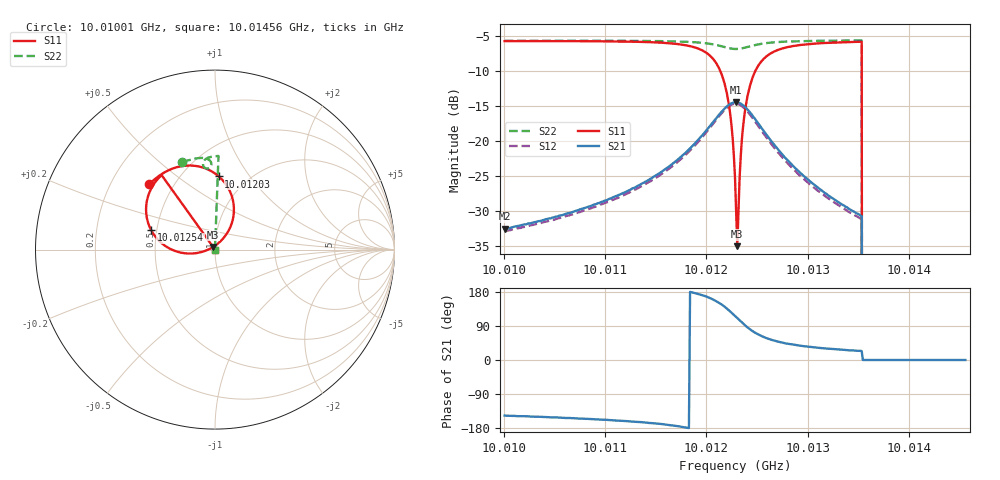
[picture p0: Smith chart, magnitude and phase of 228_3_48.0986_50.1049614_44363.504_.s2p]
#  HZ  S  RI  R  50.00
! Rohde & Schwarz Vector Network Analyzer
! Rohde-Schwarz,ZNB20-2Port,1311601062101988,3.16
! Created: UTC 12/23/2023, 3:57:29 AM
! freq[Hz]  re:S11  im:S11  re:S21  im:S21  re:S12  im:S12  re:S22  im:S22
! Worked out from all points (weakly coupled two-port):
!   401 points, 10.01001 GHz to 10.01456 GHz, reference 50 ohm
!   highest |S21| = -14.47 dB at 10.01229 GHz (marker M1); lowest = -32.5 dB at 10.01001 GHz (marker M2)
!   lowest |S11| = -35.0 dB at 10.01231 GHz (marker M3), VSWR 1.04, Z = 49.1 + j1.49 ohm
!   |S11| at or under -10 dB: 10.01214 GHz to 10.01248 GHz (346.4 kHz wide, 0.00346 % of centre); 10.01353 GHz to end of sweep
!   |S22| runs from - to -5.6 dB; largest |S21 - S12| = 0.0093
!   S11 on the Smith chart (normalised r, x): 10.01001 GHz: 0.37, +0.36; 10.01203 GHz: 0.74, +0.72; 10.01254 GHz: 0.47, +0.12; 10.01456 GHz: 1.00, +0.00
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1.001001e10  -0.3657 0.3644  -0.0197 -0.013  -0.0183 -0.0134  -0.1815 0.4859
1.0010771e10  -0.3098 0.4121  -0.0297 -0.014  -0.0277 -0.0148  -0.1322 0.5021
1.0011533e10  -0.2027 0.4616  -0.0575 -0.012  -0.0545 -0.0142  -0.0758 0.5109
1.0012033e10  0.0208 0.4078  -0.1221 0.0352  -0.1206 0.028  -0.0264 0.4934
1.0012135e10  0.0909 0.3057  -0.1348 0.0805  -0.1355 0.0715  -0.02 0.4771
1.0012203e10  0.1036 0.1921  -0.1265 0.1233  -0.1288 0.1152  -0.0234 0.4631
1.0012249e10  0.075 0.1042  -0.1058 0.153  -0.11 0.1449  -0.0308 0.4553
1.0012283e10  0.0302 0.046  -0.0827 0.1698  -0.0876 0.1624  -0.0389 0.452
1.0012294e10  0.0108 0.0291  -0.0736 0.174  -0.0791 0.1667  -0.0419 0.4517
1.0012306e10  -0.00925 0.0151  -0.0652 0.1769  -0.0696 0.1703  -0.0446 0.4518
1.0012317e10  -0.0313 0.00291  -0.056 0.1793  -0.0603 0.1726  -0.0474 0.4521
1.0012328e10  -0.0542 -0.00683  -0.0467 0.1804  -0.0505 0.1742  -0.0503 0.4528
1.0012363e10  -0.1243 -0.0218  -0.019 0.179  -0.0237 0.1731  -0.0576 0.4568
1.0012397e10  -0.1909 -0.0166  0.00569 0.1708  2.96e-05 0.1653  -0.0629 0.4627
1.0012453e10  -0.2787 0.0215  0.0351 0.1486  0.0292 0.1439  -0.0668 0.4741
1.0012544e10  -0.3551 0.1073  0.0556 0.1107  0.0497 0.1076  -0.0639 0.49
1.001276e10  -0.3819 0.2563  0.0554 0.0557  0.0504 0.0553  -0.0441 0.5093
1.0013044e10  -0.3512 0.3476  0.0414 0.028  0.0382 0.0284  -0.0184 0.518
1.0013511e10  -0.3001 0.4131  0.0271 0.0122  0.0251 0.013  0.0179 0.5216
1.0013567e10  0 0  0 0  0 0  0 0
1.0013806e10  0 0  0 0  0 0  0 0
1.0014556e10  0 0  0 0  0 0  0 0
